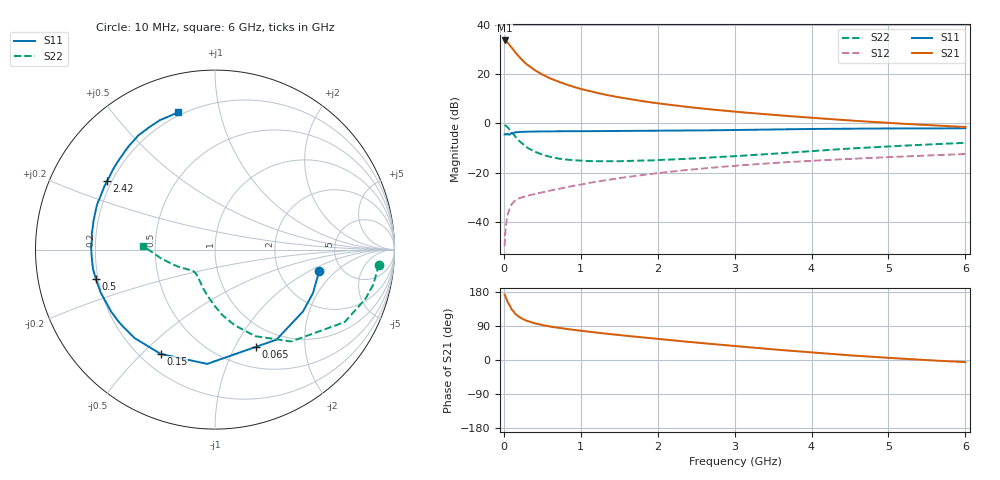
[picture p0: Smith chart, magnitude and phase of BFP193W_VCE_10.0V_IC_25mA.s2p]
! Infineon Technologies  Discrete & RF Semiconductors
! BFP193W
! VCE = 10.0V,  IC =  25 mA
! Common Emitter S-Parameters:  Jan 2016
# GHz  S  MA  R  50
!  f  S11  S21  S12  S22
! GHz  MAG  ANG  MAG  ANG  MAG  ANG  MAG  ANG
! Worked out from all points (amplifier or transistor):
!   210 points, 10 MHz to 6 GHz, reference 50 ohm
!   highest |S21| = 33.6 dB at 10 MHz (marker M1)
!   |S21| within 3 dB of that: start of sweep to 104.5 MHz
!   unconditionally stable (mu >= 1): 960.1 MHz to 4.917 GHz
!   at 185 MHz: K = 0.36, MSG = 29.1 dB, |S12| = -30.7 dB
!   at 1.52 GHz: K = 1.10, MAG = 14.4 dB, |S12| = -22.2 dB
!   at 6 GHz: K = 0.96, MSG = 5.5 dB, |S12| = -12.5 dB
!   S11 on the Smith chart (normalised r, x): 10 MHz: 3.40, -1.26; 65 MHz: 0.73, -1.22; 150 MHz: 0.28, -0.57; 500 MHz: 0.19, -0.12; 2.42 GHz: 0.18, +0.28; 6 GHz: 0.18, +0.75
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0.01  0.5926 -11.7  47.86 172.8  0.0032 70.8  0.9166 -5.2
0.02  0.5972 -23.9  47.37 168.1  0.0063 73.0  0.9037 -12.3
0.03  0.5993 -35.1  46.26 163.0  0.009 72.9  0.8821 -18.1
0.05  0.6075 -55.7  43.26 152.9  0.0141 65.3  0.8275 -29.2
0.065  0.5878 -67.3  40.24 148.1  0.0165 59.8  0.7688 -34.6
0.1  0.6383 -93.9  34.59 134.0  0.0226 51.7  0.6653 -50.3
0.15  0.6553 -117.5  27.3 121.3  0.0273 44.5  0.5317 -65.1
0.2  0.6659 -132.1  22.01 113.3  0.03 41.8  0.437 -75.2
0.26  0.6708 -143.5  17.82 106.7  0.0322 40.0  0.3628 -84.1
0.3  0.6739 -149.2  15.6 103.2  0.0336 39.7  0.3232 -89.1
0.4  0.6804 -159.4  12 96.8  0.0366 40.5  0.265 -98.5
0.5  0.6838 -166.3  9.73 92.1  0.0395 42.7  0.2304 -105.9
0.6  0.6882 -171.2  8.16 88.3  0.0429 44.7  0.2077 -111.7
0.7  0.6884 -175.4  7.07 85.2  0.0459 46.4  0.1929 -116.2
1.02  0.6888 175.0  4.877 76.7  0.0578 50.9  0.1736 -126.6
1.4  0.6954 166.5  3.586 67.9  0.0728 53.3  0.1702 -133.6
2.02  0.7044 154.4  2.517 55.2  0.0978 53.3  0.1798 -140.7
2.42  0.7127 147.6  2.114 47.5  0.1141 52.0  0.1917 -145.2
3.1  0.7322 136.8  1.665 35.3  0.1407 48.4  0.2195 -153.7
4.1  0.7674 122.7  1.259 18.4  0.1762 42.0  0.2779 -166.6
5.1  0.7839 112.2  0.994 4.5  0.2083 36.1  0.3448 -177.0
6  0.792 105.2  0.84 -5.6  0.2375 31.1  0.4005 176.9
